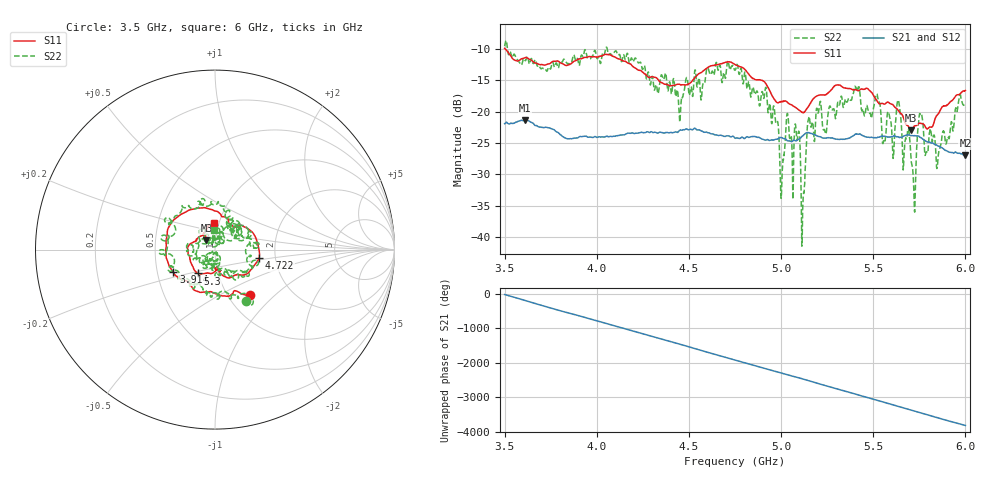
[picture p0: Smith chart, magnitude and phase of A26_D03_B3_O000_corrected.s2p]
! Created with skrf 1.9.0 (http://scikit-rf.org).
# Hz S RI R 50.0
!freq ReS11 ImS11 ReS21 ImS21 ReS12 ImS12 ReS22 ImS22
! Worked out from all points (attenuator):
!   1601 points, 3.5 GHz to 6 GHz, reference 50 ohm
!   highest |S21| = -21.36 dB at 3.611 GHz (marker M1); lowest = -26.9 dB at 6 GHz (marker M2)
!   lowest |S11| = -23.0 dB at 5.706 GHz (marker M3), VSWR 1.15, Z = 45.2 + j4.78 ohm
!   |S11| at or under -10 dB: 3.504 GHz to end of sweep
!   |S22| runs from -41.5 to -8.6 dB; largest |S21 - S12| = 0.00097
!   S11 on the Smith chart (normalised r, x): 3.5 GHz: 1.26, -0.71; 3.914 GHz: 0.61, -0.17; 4.722 GHz: 1.64, -0.17; 5.3 GHz: 0.80, -0.22; 6 GHz: 0.94, +0.28
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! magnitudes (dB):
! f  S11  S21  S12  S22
! 3.5 GHz  -9.9  -21.9  -21.9  -9.5
! 3.611 GHz  -11.4  -21.4  -21.4  -11.8
! 3.914 GHz  -11.6  -24.0  -23.9  -11.2
! 3.917 GHz  -11.5  -24.0  -24.0  -10.9
! 4.334 GHz  -15.0  -23.4  -23.3  -17.0
! 4.722 GHz  -12.1  -24.0  -23.9  -13.3
! 4.75 GHz  -12.5  -24.2  -24.2  -13.4
! 4.969 GHz  -18.3  -24.4  -24.4  -21.3
! 5.005 GHz  -18.3  -24.2  -24.2  -30.6
! 5.033 GHz  -18.4  -24.6  -24.5  -20.3
! 5.088 GHz  -19.5  -24.6  -24.5  -24.5
! 5.119 GHz  -20.1  -23.8  -23.7  -34.3
! 5.145 GHz  -19.3  -23.3  -23.3  -21.6
! 5.167 GHz  -18.3  -23.5  -23.5  -21.8
! 5.3 GHz  -15.8  -24.4  -24.4  -20.2
! 5.584 GHz  -18.6  -24.0  -24.0  -20.1
! 5.638 GHz  -19.9  -24.0  -24.0  -18.3
! 5.706 GHz  -23.0  -23.8  -23.8  -28.0
! 5.723 GHz  -22.3  -23.8  -23.8  -35.8
! 5.756 GHz  -21.8  -24.1  -24.0  -20.5
! 5.852 GHz  -20.4  -25.5  -25.4  -27.5
! 6 GHz  -16.6  -26.9  -26.9  -19.4
